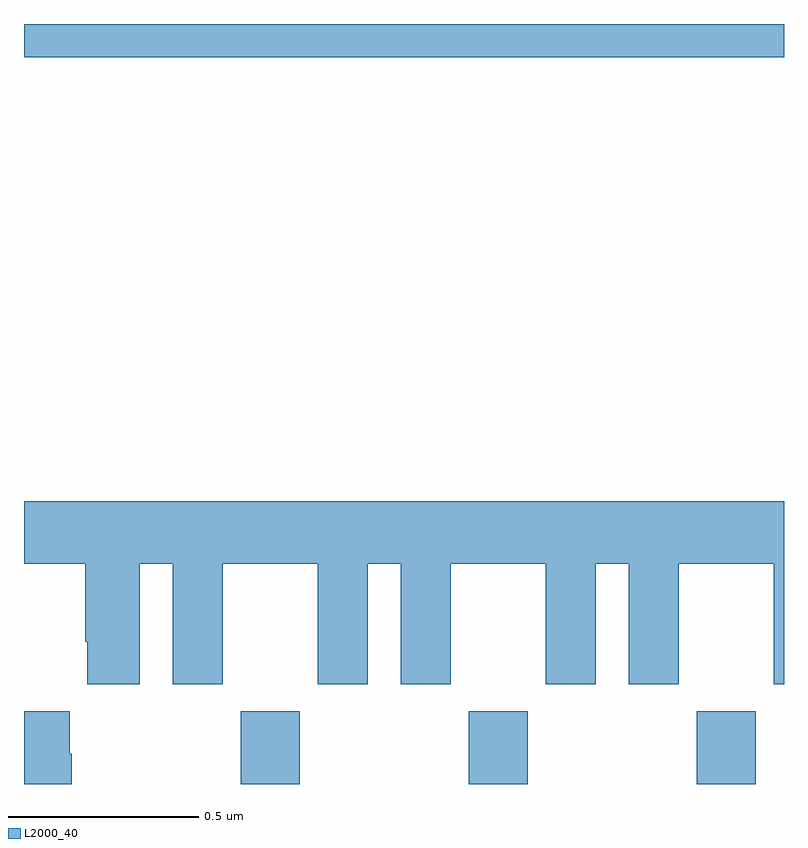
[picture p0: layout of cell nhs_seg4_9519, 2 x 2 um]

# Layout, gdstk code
import gdstk
lib = gdstk.Library(unit=1e-6, precision=1e-09)
def R(c, l, rs):  # rectangles x0, y0, x1, y1
    for r in rs: c.add(gdstk.rectangle(r[:2], r[2:], *l))
def A(c, l, x, y, w, h, nx, ny, dx, dy):  # array of equal rectangles
    R(c, l, [(x+i*dx, y+j*dy, x+i*dx+w, y+j*dy+h) for i in range(nx) for j in range(ny)])
def P(c, l, *ps):  # polygons
    for p in ps: c.add(gdstk.Polygon(p, *l))
L2000_40 = (2000, 40)

nhs_seg4_9519 = lib.new_cell('nhs_seg4_9519')
A(nhs_seg4_9519, L2000_40, 228.571, 802.9, 0.155, 0.192, 3, 1, 0.6, 0)
R(nhs_seg4_9519, L2000_40, [(228,804.812,230,804.9)])
P(nhs_seg4_9519, L2000_40, [(228.304,803.48),(228.392,803.48),(228.392,803.163),(228.523,803.163),(228.523,803.48),(228.773,803.48),(228.773,803.163),(228.904,803.163),(228.904,803.48),(228.992,803.48),(228.992,803.163),(229.123,803.163),(229.123,803.48),(229.373,803.48),(229.373,803.163),(229.504,803.163),(229.504,803.48),(229.592,803.48),(229.592,803.163),(229.723,803.163),(229.723,803.48),(229.973,803.48),(229.973,803.163),(230,803.163),(230,803.644),(228,803.644),(228,803.48),(228.161,803.48),(228.161,803.275),(228.167,803.275),(228.167,803.163),(228.304,803.163)],
  [(228.126,802.979),(228.121,802.979),(228.121,803.092),(228,803.092),(228,802.9),(228.126,802.9)])

lib.write_gds('nhs_seg4_9519.gds')
